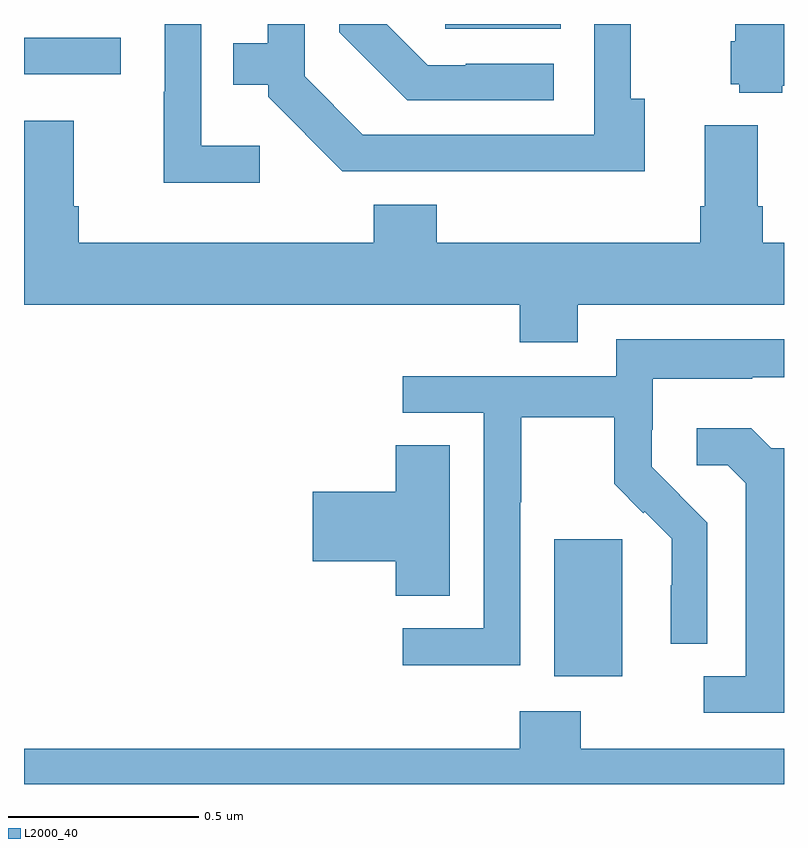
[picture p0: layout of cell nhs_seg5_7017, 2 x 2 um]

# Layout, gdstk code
import gdstk
lib = gdstk.Library(unit=1e-6, precision=1e-09)
def R(c, l, rs):  # rectangles x0, y0, x1, y1
    for r in rs: c.add(gdstk.rectangle(r[:2], r[2:], *l))
def P(c, l, *ps):  # polygons
    for p in ps: c.add(gdstk.Polygon(p, *l))
L2000_40 = (2000, 40)

nhs_seg5_7017 = lib.new_cell('nhs_seg5_7017')
R(nhs_seg5_7017, L2000_40, [(204.395,889.082,204.574,889.443), (203,890.667,203.254,890.763), (204.108,890.787,204.412,890.799)])
P(nhs_seg5_7017, L2000_40, [(204.996,890.636),(205,890.636),(205,890.799),(204.872,890.799),(204.872,890.754),(204.86,890.754),(204.86,890.64),(204.882,890.64),(204.882,890.618),(204.996,890.618)],
  [(203.62,890.479),(203.466,890.479),(203.466,890.799),(203.37,890.799),(203.37,890.621),(203.368,890.621),(203.368,890.381),(203.62,890.381)],
  [(204.394,890.694),(204.163,890.694),(204.163,890.691),(204.063,890.691),(203.955,890.799),(203.829,890.799),(203.829,890.777),(204.008,890.598),(204.394,890.598)],
  [(204.634,890.602),(204.597,890.602),(204.597,890.799),(204.501,890.799),(204.501,890.508),(203.892,890.508),(203.739,890.661),(203.739,890.799),(203.642,890.799),(203.642,890.749),(203.551,890.749),(203.551,890.639),(203.643,890.639),(203.643,890.607),(203.838,890.412),(204.169,890.412),(204.169,890.411),(204.634,890.411)],
  [(204.457,890.06),(205,890.06),(205,890.224),(204.944,890.224),(204.944,890.32),(204.931,890.32),(204.931,890.533),(204.791,890.533),(204.791,890.32),(204.779,890.32),(204.779,890.224),(204.086,890.224),(204.086,890.323),(203.921,890.323),(203.921,890.224),(203.144,890.224),(203.144,890.32),(203.131,890.32),(203.131,890.545),(203,890.545),(203,890.06),(204.305,890.06),(204.305,889.961),(204.457,889.961)],
  [(204.306,889.54),(204.309,889.54),(204.309,889.764),(204.553,889.764),(204.553,889.589),(204.63,889.512),(204.633,889.515),(204.704,889.445),(204.704,889.322),(204.702,889.322),(204.702,889.168),(204.798,889.168),(204.798,889.486),(204.725,889.559),(204.726,889.56),(204.652,889.634),(204.652,889.731),(204.654,889.731),(204.654,889.865),(204.917,889.865),(204.917,889.869),(205,889.869),(205,889.969),(204.558,889.969),(204.558,889.872),(203.997,889.872),(203.997,889.776),(204.21,889.776),(204.21,889.209),(203.997,889.209),(203.997,889.111),(204.306,889.111)],
  [(205,889.683),(204.966,889.683),(204.914,889.735),(204.771,889.735),(204.771,889.638),(204.852,889.638),(204.899,889.591),(204.899,889.083),(204.789,889.083),(204.789,888.987),(205,888.987)],
  [(204.121,889.691),(203.978,889.691),(203.978,889.568),(203.76,889.568),(203.76,889.385),(203.978,889.385),(203.978,889.294),(204.121,889.294)],
  [(205,888.892),(204.465,888.892),(204.465,888.991),(204.305,888.991),(204.305,888.892),(203,888.892),(203,888.799),(205,888.799)])

lib.write_gds('nhs_seg5_7017.gds')
